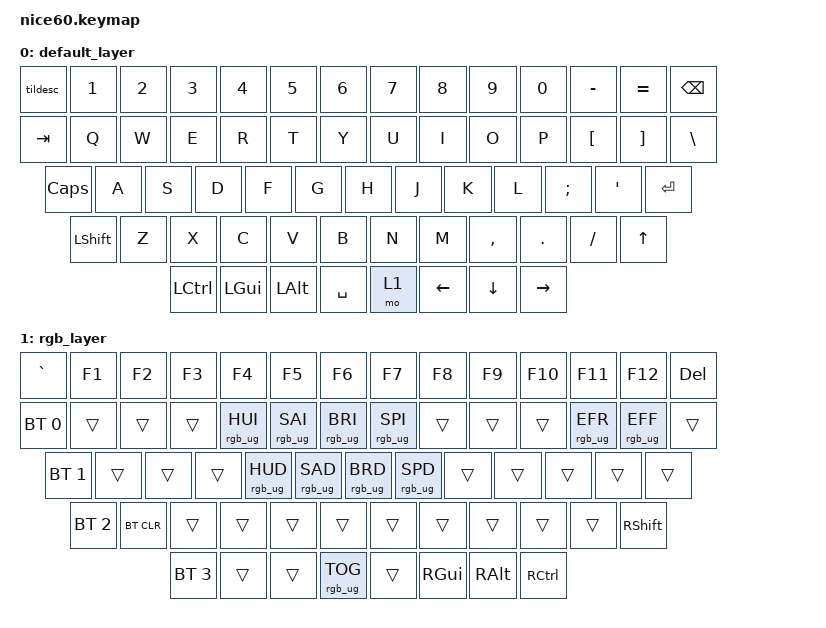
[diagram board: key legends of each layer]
/*
 * Copyright (c) 2021 Nick Winans
 *
 * SPDX-License-Identifier: MIT
 */

#include <behaviors.dtsi>
#include <dt-bindings/zmk/keys.h>
#include <dt-bindings/zmk/rgb.h>
#include <dt-bindings/zmk/bt.h>
#include <dt-bindings/zmk/outputs.h>
#include <dt-bindings/zmk/reset.h>
#include <dt-bindings/zmk/ext_power.h>

/ {
  behaviors {
    tildesc: tilde_escape {
      compatible = "zmk,behavior-mod-morph";
      #binding-cells = <0>;
      bindings = <&kp ESC>, <&kp TILDE>;
      mods = <(MOD_LSFT|MOD_RSFT)>;
    };
  };
	keymap {
		compatible = "zmk,keymap";
		
		default_layer {
// ------------------------------------------------------------------------------------------
// | ESC |  1  |  2  |  3  |  4  |  5  |  6  |  7  |  8  |  9  |  0  |  -  |  =  |   BKSP   |
// | TAB  |  Q  |  W  |  E  |  R  |  T  |  Y  |  U  |  I  |  O  |  P  |  [  |  ]  |   "|"   |
// | CAPS  |  A  |  S  |  D  |  F  |  G  |  H  |  J  |  K  |  L  |  ;  |  '  |     ENTER    |
// |  SHIFT  |  Z  |  X  |  C  |  V  |  B  |  N  |  M  |  ,  |  .  |  /  |        UP        |
// |  CTL  |  WIN  |  ALT  |            SPACE          |  MO(1) |  LEFT  |  DOWN  |  RIGHT  |
// ------------------------------------------------------------------------------------------
			bindings = <
	&tildesc  &kp N1 &kp N2 &kp N3 &kp N4 &kp N5 &kp N6 &kp N7 &kp N8 &kp N9 &kp N0 &kp MINUS &kp EQUAL  &kp BSPC
	&kp TAB  &kp Q  &kp W  &kp E  &kp R  &kp T  &kp Y  &kp U  &kp I  &kp O  &kp P  &kp LBKT  &kp RBKT  &kp BSLH
	&kp CLCK  &kp A  &kp S  &kp D  &kp F  &kp G  &kp H  &kp J  &kp K  &kp L  &kp SEMI &kp SQT           &kp RET
	&kp LSHFT   &kp Z  &kp X  &kp C  &kp V  &kp B  &kp N  &kp M  &kp COMMA &kp DOT &kp FSLH           &kp UP
	&kp LCTRL &kp LGUI &kp LALT             &kp SPACE                     &mo 1  &kp LEFT  &kp DOWN   &kp RIGHT
			>;
		};

		rgb_layer {
// ------------------------------------------------------------------------------------------------
// | GRAVE  | F1  | F2  | F3  | F4  | F5  | F6  | F7  | F8  | F9  | F10  | F11 | F12 |      DEL   |
// |  BT 1   |   |  UP |   | HUEUP | SATUP | BRIUP | SPDUP |   |   |    | EFF_REV | EFF_FORW |    |
// |   BT 2   | LT |  DN  | RT | HUEDN | SATDN | BRIDN | SPDDN |   |     |   |     |  EFFECT FORW |
// |    BT 3     |  BT CLEAR  |    |    |    |    |    |     |     |     |     |      SHIFT       |
// |   BT 4  |      |      |             TOG RGB                |         |  WIN  |  ALT  |  CTL  |
// ------------------------------------------------------------------------------------------------
			bindings = <
	&kp GRAVE   &kp F1    &kp F2    &kp F3  &kp F4           &kp F5          &kp F6          &kp F7          &kp F8   &kp F9   &kp F10  &kp F11 &kp F12  &kp DEL
	&bt BT_SEL 0  &trans    &trans    &trans  &rgb_ug RGB_HUI  &rgb_ug RGB_SAI &rgb_ug RGB_BRI &rgb_ug RGB_SPI  &trans   &trans   &trans   &rgb_ug RGB_EFR  &rgb_ug RGB_EFF  &trans 
	&bt BT_SEL 1   &trans    &trans    &trans   &rgb_ug RGB_HUD &rgb_ug RGB_SAD &rgb_ug RGB_BRD &rgb_ug RGB_SPD &trans   &trans   &trans   &trans        &trans
	&bt BT_SEL 2    &bt BT_CLR    &trans    &trans   &trans          &trans          &trans          &trans          &trans   &trans   &trans                &kp RSHFT
	&bt BT_SEL 3  &trans   &trans                            &rgb_ug RGB_TOG                                      &trans      &kp RGUI      &kp RALT               &kp RCTRL
			>;
		};
	};
};
